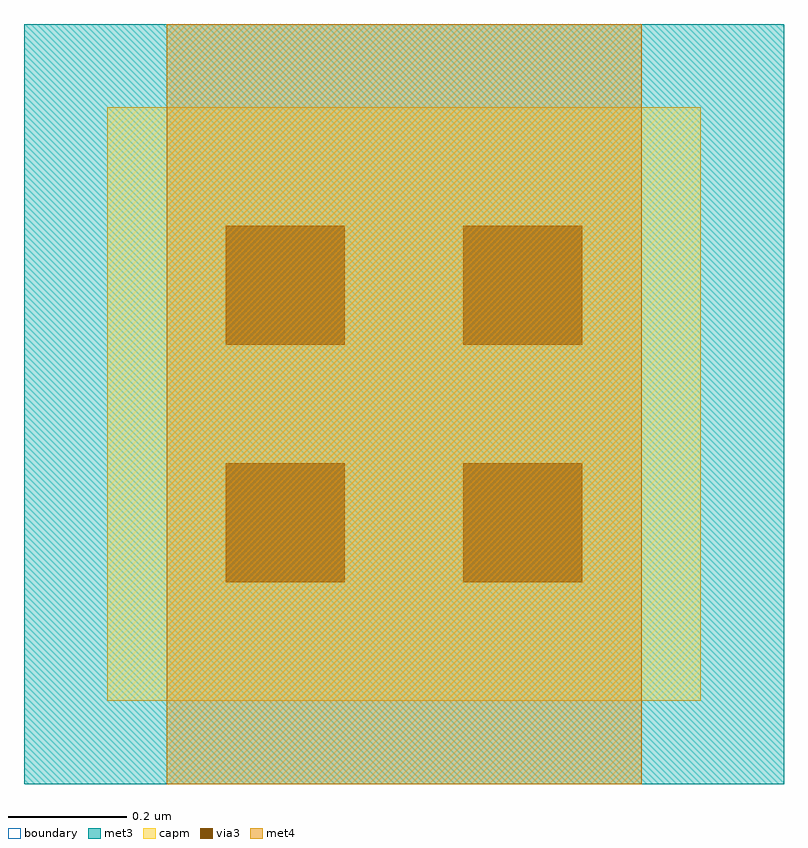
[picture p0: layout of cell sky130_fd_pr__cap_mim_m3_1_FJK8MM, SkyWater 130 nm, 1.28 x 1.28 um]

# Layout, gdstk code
import gdstk
lib = gdstk.Library(unit=1e-6, precision=1e-09)
def R(c, l, rs):  # rectangles x0, y0, x1, y1
    for r in rs: c.add(gdstk.rectangle(r[:2], r[2:], *l))
met3 = (70, 20)
via3 = (70, 44)
met4 = (71, 20)
capm = (89, 44)
boundary = (235, 4)

sky130_fd_pr__cap_mim_m3 = lib.new_cell('sky130_fd_pr__cap_mim_m3_1_FJK8MM')
R(sky130_fd_pr__cap_mim_m3, met3, [(0,0,1.28,1.28)])
R(sky130_fd_pr__cap_mim_m3, via3, [(0.34,0.34,0.54,0.54), (0.74,0.34,0.94,0.54), (0.34,0.74,0.54,0.94), (0.74,0.74,0.94,0.94)])
R(sky130_fd_pr__cap_mim_m3, met4, [(0.24,0,0.64,1.28), (0.64,0,1.04,1.28)])
R(sky130_fd_pr__cap_mim_m3, capm, [(0.14,0.14,1.14,1.14)])
R(sky130_fd_pr__cap_mim_m3, boundary, [(0.14,0.14,1.14,1.14)])

lib.write_gds('sky130_fd_pr__cap_mim_m3_1_FJK8MM.gds')
